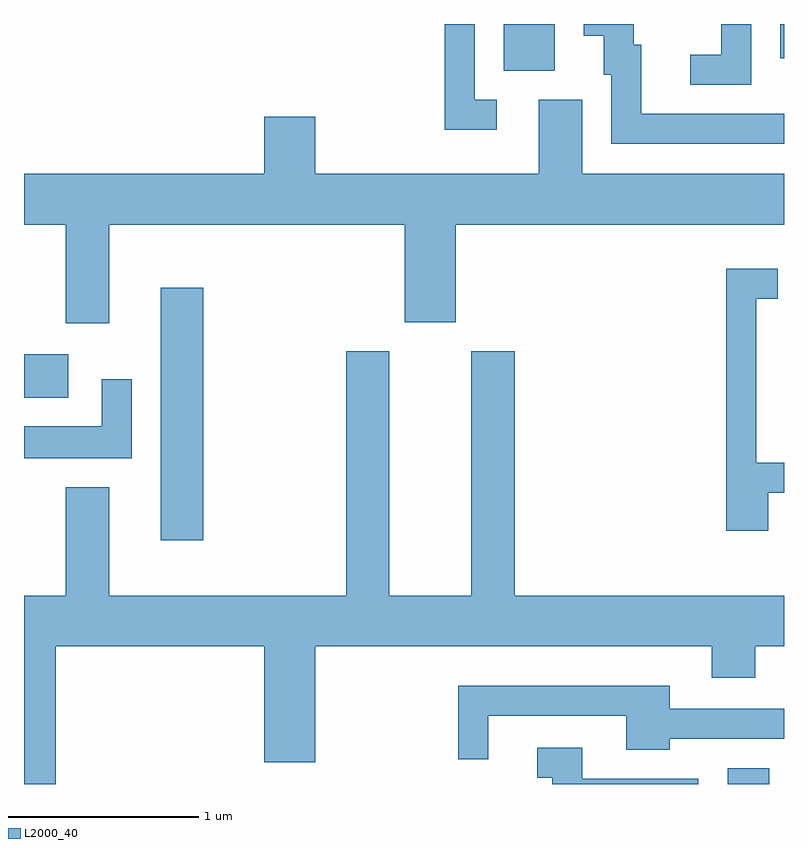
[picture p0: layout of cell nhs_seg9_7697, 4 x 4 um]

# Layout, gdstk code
import gdstk
lib = gdstk.Library(unit=1e-6, precision=1e-09)
def R(c, l, rs):  # rectangles x0, y0, x1, y1
    for r in rs: c.add(gdstk.rectangle(r[:2], r[2:], *l))
def P(c, l, *ps):  # polygons
    for p in ps: c.add(gdstk.Polygon(p, *l))
L2000_40 = (2000, 40)

nhs_seg9_7697 = lib.new_cell('nhs_seg9_7697')
R(nhs_seg9_7697, L2000_40, [(417.316,1984.432,417.534,1984.514), (414.331,1985.716,414.554,1987.044), (413.611,1986.466,413.844,1986.694), (416.136,1988.186,416.404,1988.432), (417.591,1988.251,417.611,1988.432)])
P(nhs_seg9_7697, L2000_40, [(417.439,1988.432),(417.281,1988.432),(417.281,1988.269),(417.118,1988.269),(417.118,1988.111),(417.439,1988.111)],
  [(417.611,1987.959),(416.859,1987.959),(416.859,1988.324),(416.819,1988.324),(416.819,1988.432),(416.556,1988.432),(416.556,1988.371),(416.661,1988.371),(416.661,1988.166),(416.701,1988.166),(416.701,1987.801),(417.611,1987.801)],
  [(416.098,1988.034),(415.984,1988.034),(415.984,1988.432),(415.826,1988.432),(415.826,1987.876),(416.098,1987.876)],
  [(414.059,1987.376),(415.616,1987.376),(415.616,1986.861),(415.884,1986.861),(415.884,1987.376),(417.611,1987.376),(417.611,1987.644),(416.549,1987.644),(416.549,1988.034),(416.321,1988.034),(416.321,1987.644),(415.144,1987.644),(415.144,1987.944),(414.876,1987.944),(414.876,1987.644),(413.611,1987.644),(413.611,1987.376),(413.831,1987.376),(413.831,1986.856),(414.059,1986.856)],
  [(417.529,1985.966),(417.611,1985.966),(417.611,1986.124),(417.464,1986.124),(417.464,1986.986),(417.578,1986.986),(417.578,1987.144),(417.306,1987.144),(417.306,1985.766),(417.529,1985.766)],
  [(413.779,1985.156),(414.876,1985.156),(414.876,1984.546),(415.144,1984.546),(415.144,1985.156),(417.231,1985.156),(417.231,1984.991),(417.459,1984.991),(417.459,1985.156),(417.611,1985.156),(417.611,1985.424),(416.194,1985.424),(416.194,1986.709),(415.966,1986.709),(415.966,1985.424),(415.534,1985.424),(415.534,1986.709),(415.306,1986.709),(415.306,1985.424),(414.059,1985.424),(414.059,1985.994),(413.831,1985.994),(413.831,1985.424),(413.611,1985.424),(413.611,1984.432),(413.779,1984.432)],
  [(414.179,1986.563),(414.021,1986.563),(414.021,1986.314),(413.611,1986.314),(413.611,1986.146),(414.179,1986.146)],
  [(416.054,1984.791),(416.781,1984.791),(416.781,1984.611),(417.009,1984.611),(417.009,1984.671),(417.611,1984.671),(417.611,1984.829),(417.009,1984.829),(417.009,1984.949),(415.896,1984.949),(415.896,1984.563),(416.054,1984.563)],
  [(417.159,1984.459),(416.549,1984.459),(416.549,1984.624),(416.313,1984.624),(416.313,1984.466),(416.391,1984.466),(416.391,1984.432),(417.159,1984.432)])

lib.write_gds('nhs_seg9_7697.gds')
